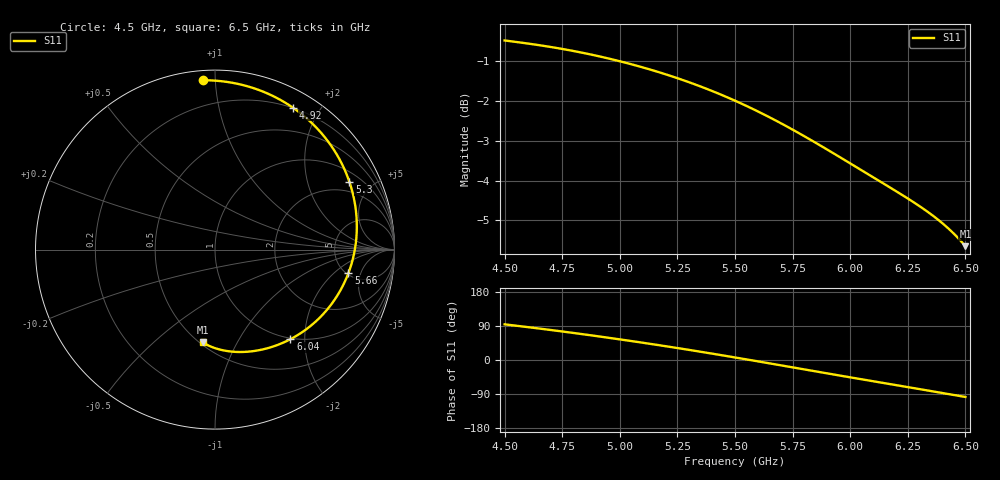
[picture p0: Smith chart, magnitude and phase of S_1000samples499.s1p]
! TOUCHSTONE file generated by CST MICROWAVE STUDIO
! Date and time: Fri Oct 28 09:15:33 2022
! Project name: L.cst
! Parameters = {Di=1.27; Epsilon_r=1.56; InnerDiameter=1.27; Length=2; Lf=10; Lg=60; OuterConductorThickness=0.2921; OuterDiameter=3.6; Wf=3; Wp=41.2; de=1.5; df=6.8; g=0.8; gx=2.20139; gy=4.48393; h=2.34; hf=1.524; px=10.9348; py=13.668; w=9.7; wx=8.73342; wy=9.18408}
! Header version: 2018
! Port assignment regex: !\s*Touchstone port\s*([0-9]+)\s*=\s*(CST MWS port|CST DS port)\s*([0-9]+|Zmin|Zmax)\s*\(\"(.*)\"\)(\s*mode\s*([0-9]+))?.*
! Touchstone port assignment:
! Touchstone port 1 = CST MWS port 1 ("")
# GHz S DB R 50
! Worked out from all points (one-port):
!   101 points, 4.5 GHz to 6.5 GHz, reference 50 ohm
!   lowest |S11| = -5.6 dB at 6.5 GHz (marker M1), VSWR 3.18, Z = 25.8 - j36.7 ohm
!   |S11| at or under -10 dB: nowhere
!   S11 on the Smith chart (normalised r, x): 4.5 GHz: 0.05, +0.93; 4.92 GHz: 0.20, +1.67; 5.3 GHz: 1.45, +3.67; 5.66 GHz: 5.20, -3.15; 6.04 GHz: 0.98, -1.71; 6.5 GHz: 0.52, -0.73
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4.5  -0.48 94.1
4.58  -0.54 88.3
4.64  -0.59 83.8
4.76  -0.71 74.5
4.84  -0.79 68.0
4.92  -0.89 61.3
5  -1.00 54.4
5.06  -1.10 49.1
5.14  -1.23 41.9
5.2  -1.33 36.3
5.26  -1.45 30.6
5.3  -1.53 26.7
5.4  -1.75 16.9
5.5  -1.99 6.7
5.58  -2.21 -1.6
5.66  -2.44 -9.9
5.76  -2.75 -20.5
5.88  -3.15 -33.2
5.94  -3.36 -39.5
6  -3.57 -45.7
6.04  -3.71 -49.9
6.14  -4.06 -60.2
6.2  -4.27 -66.4
6.26  -4.49 -72.6
6.32  -4.72 -78.8
6.38  -4.97 -85.0
6.44  -5.28 -91.3
6.5  -5.65 -97.5
